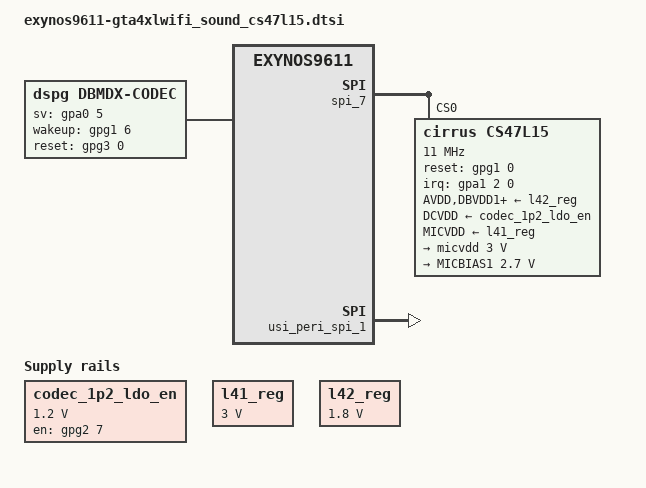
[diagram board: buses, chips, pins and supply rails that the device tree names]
/*
 * SAMSUNG EXYNOS9611 GTA4XL soundcard device tree source
 *
 * Copyright (c) 2018 Samsung Electronics Co., Ltd.
 *		http://www.samsung.com
 *
 * This program is free software; you can redistribute it and/or modify
 * it under the terms of the GNU General Public License version 2 as
 * published by the Free Software Foundation.
 */

/ {
	fragment@sound {
		target-path = "/";
		__overlay__ {
			codec_1p2_ldo_en: codec_1p2_ldo_en {
				compatible = "regulator-fixed";
				regulator-name = "codec_1p2_ldo_en";
				regulator-min-microvolt = <1200000>;
				regulator-max-microvolt = <1200000>;
				gpio = <&gpg2 7 0>;
				enable-active-high;
				startup-delay-us = <1000>;
			};

			/delete-node/ sound;
			sound {
				status = "okay";
				compatible = "samsung,exynos9610-audio-cs47l15";
				#address-cells = <1>;
				#size-cells = <0>;
				mic-always-on;
				clock-names = "xclkout";
				clocks = <&clock OSC_AUD>;
				pinctrl-names = "default";
				pinctrl-0 = <&xclkout0>;
				cirrus,sysclk = <1 4 98304000>;
				cirrus,asyncclk = <2 5 98304000>;
				cirrus,dspclk = <8 4 147456000>;
				cirrus,outclk = <9 1 0>;
				cirrus,fll1-refclk = <1 0 26000000>;
				cirrus,fll2-refclk = <2 8 26000000>;
				samsung,routing = "HEADSETMIC", "MICBIAS1A",
						"MAINMIC", "MICBIAS1B",
						"SUBMIC", "MICBIAS1C",
						"IN1BL", "HEADSETMIC",
						"IN1AL", "MAINMIC",
						"IN1AR", "SUBMIC",
						"RECEIVER", "EPOUTP",
						"RECEIVER", "EPOUTN",
						"HEADPHONE", "HPOUTL",
						"HEADPHONE", "HPOUTR",
						"VOUTPUT", "ABOX UAIF0 Playback",
						"SPEAKER", "ABOX UAIF2 Playback",
						"VOUTPUTCALL", "ABOX SIFS0 Playback",
						"BLUETOOTH SPK", "ABOX SIFS2 Playback",
						"ABOX SPDY Capture", "FM IN",
						"ABOX SIFS2 Capture", "BLUETOOTH MIC",
						"ABOX SIFS0 Capture", "VINPUTCALL";

				samsung,codec = <&abox &abox_uaif_0 &abox_uaif_1 &abox_uaif_2
					&abox_uaif_4 &abox_dsif &abox_spdy>;
				samsung,prefix = "ABOX", "ABOX", "ABOX", "ABOX",
					"ABOX", "ABOX", "ABOX";
				samsung,aux = <&abox_effect &abox_bt>;

				mixer-paths = "mixer_paths_cs47l15.xml";
				rdma@0 {
					cpu {
						sound-dai = <&abox 0>;
					};
					platform {
						sound-dai = <&abox_rdma_0>;
					};
					codec {
						sound-dai = <&dummy_audio_codec>;
					};
				};
				rdma@1 {
					cpu {
						sound-dai = <&abox 1>;
					};
					platform {
						sound-dai = <&abox_rdma_1>;
					};
					codec {
						sound-dai = <&dummy_audio_codec>;
					};
				};
				rdma@2 {
					cpu {
						sound-dai = <&abox 2>;
					};
					platform {
						sound-dai = <&abox_rdma_2>;
					};
					codec {
						sound-dai = <&dummy_audio_codec>;
					};
				};
				rdma@3 {
					cpu {
						sound-dai = <&abox 3>;
					};
					platform {
						sound-dai = <&abox_rdma_3>;
					};
					codec {
						sound-dai = <&dummy_audio_codec>;
					};
				};
				rdma@4 {
					cpu {
						sound-dai = <&abox 4>;
					};
					platform {
						sound-dai = <&abox_rdma_4>;
					};
					codec {
						sound-dai = <&dummy_audio_codec>;
					};
				};
				rdma@5 {
					cpu {
						sound-dai = <&abox 5>;
					};
					platform {
						sound-dai = <&abox_rdma_5>;
					};
					codec {
						sound-dai = <&dummy_audio_codec>;
					};
				};
				rdma@6 {
					cpu {
						sound-dai = <&abox 6>;
					};
					platform {
						sound-dai = <&abox_rdma_6>;
					};
					codec {
						sound-dai = <&dummy_audio_codec>;
					};
				};
				rdma@7 {
					cpu {
						sound-dai = <&abox 7>;
					};
					platform {
						sound-dai = <&abox_rdma_7>;
					};
					codec {
						sound-dai = <&dummy_audio_codec>;
					};
				};
				wdma@0 {
					cpu {
						sound-dai = <&abox 8>;
					};
					platform {
						sound-dai = <&abox_wdma_0>;
					};
					codec {
						sound-dai = <&dummy_audio_codec>;
					};
				};
				wdma@1 {
					cpu {
						sound-dai = <&abox 9>;
					};
					platform {
						sound-dai = <&abox_wdma_1>;
					};
					codec {
						sound-dai = <&dummy_audio_codec>;
					};
				};
				wdma@2 {
					cpu {
						sound-dai = <&abox 10>;
					};
					platform {
						sound-dai = <&abox_wdma_2>;
					};
					codec {
						sound-dai = <&dummy_audio_codec>;
					};
				};
				wdma@3 {
					cpu {
						sound-dai = <&abox 11>;
					};
					platform {
						sound-dai = <&abox_wdma_3>;
					};
					codec {
						sound-dai = <&dummy_audio_codec>;
					};
				};
				wdma@4 {
					cpu {
						sound-dai = <&abox 12>;
					};
					platform {
						sound-dai = <&abox_wdma_4>;
					};
					codec {
						sound-dai = <&dummy_audio_codec>;
					};
				};
				uaif@0 {
					format = "i2s";
					cpu {
						sound-dai = <&abox_uaif_0>;
					};
					codec {
						sound-dai = <&cs47l15 0>;
					};
				};
				uaif@1 {
					format = "i2s";
					cpu {
						sound-dai = <&abox_uaif_1>;
					};
					codec {
						sound-dai = <&dummy_audio_codec>;
					};
				};
				uaif@2 {
					format = "i2s";
					cpu {
						sound-dai = <&abox_uaif_2>;
					};
					platform {
						sound-dai = <&abox_adaptation 0>;
					};
					codec {
						sound-dai = <&tas2562 0>;
					};
				};
				uaif@4 {
					format = "i2s";
					bitclock-master;
					frame-master;
					cpu {
						sound-dai = <&abox_uaif_4>;
					};
					codec {
						sound-dai = <&dummy_audio_codec>;
					};
				};
				dsif@0 {
					format = "pdm";
					cpu {
						sound-dai = <&abox_dsif>;
					};
					codec {
						sound-dai = <&dummy_audio_codec>;
					};
				};
				spdy@0 {
					cpu {
						sound-dai = <&abox_spdy>;
					};
					codec {
						sound-dai = <&dummy_audio_codec>;
					};
				};
				sifs0@0 {
					cpu {
						sound-dai = <&abox 13>;
					};
					codec {
						sound-dai = <&dummy_audio_codec>;
					};
				};
				sifs1@0 {
					cpu {
						sound-dai = <&abox 14>;
					};
					codec {
						sound-dai = <&dummy_audio_codec>;
					};
				};
				sifs2@0 {
					cpu {
						sound-dai = <&abox 15>;
					};
					codec {
						sound-dai = <&dummy_audio_codec>;
					};
				};
			};
			dbmdx_event {
				status = "okay";
				compatible = "samsung,dbmdx-event";
			};

			dbmdx-snd-soc-platform {
				compatible = "dspg,dbmdx-snd-soc-platform";
			};

			snd-dbmdx-mach-drv {
				compatible = "dspg,snd-dbmdx-mach-drv";
			};

			dbmdx {
				status = "okay";
				compatible = "dspg,dbmdx-codec";

				pinctrl-names = "default";
				pinctrl-0 = <&dbmdx_wakeup &dbmdx_reset>;

				sv-gpio = <&gpa0 5 0>; /* VOICE_INT */
				wakeup-gpio = <&gpg1 6 0>; /* VOICE_WAKE */
				reset-gpio = <&gpg3 0 0>; /* VOICE_RST */
				auto_buffering = <1>;
				multi-interface-support = <1>;
				cd-interfaces = <&dbmd8_spi>;
				va-interfaces = <0 0 0 0>;
				feature-va; /* enable VA */
				va-firmware-name = "dbmd8_va_fw.bin";
				va-asrp-params-firmware-name = "dbmd8_va_asrp_fw.bin";
				va-config =	<0x80000000
						0x80000000
						0x80000000
						0x80290020
						0x801b0020
						0x80093004
						0x802210E1
						0x8033006E
						0x80159090
						0x80230000
						0x801A0001
						0x80107009
						0x8aab0040
						0x800C7530
						0x80050064
						0x80060300
						0x80070010
						0x80080000>;
						/* 2MIC_NR_DET 1MIC_DET 2MIC_NR_STREAM 2MIC_NONR_STREAM IDLE */
				va-ns-config = <0x80000000 0x80000000 0x80000000 0x80000000 0x80000000
						0x80000000 0x80000000 0x80000000 0x80000000 0x80000000
						0x80000000 0x80000000 0x80000000 0x80000000 0x80000000
						0x803D0109 0x80000000 0x803D0109 0x80000000 0x80000000
						0x803E0000 0x80000000 0x803E0000 0x80000000 0x80000000
						0x80340243 0x80340040 0x80340243 0x80340040 0x8013FFFF
						0x80110E10 0x8013FFF0 0x80110E10 0x8013FFF0 0x80340000
						0x80111EEE 0x80040000 0x80111EEE 0x80040000 0x8aab0014
						0x80112EEE 0x8016FF1C 0x80112EE2 0x8016FF18 0x80000000
						0x80113EEE 0x80000000 0x80113EEE 0x80000000 0x80000000
						0x80114EEE 0x80000000 0x80114EEE 0x80000000 0x80000000
						0x80115EE2 0x80000000 0x80115EE2 0x80000000 0x80000000
						0x80116EEE 0x80000000 0x80116EEE 0x80000000 0x80000000
						0x80117EEE 0x80000000 0x80117EEE 0x80000000 0x80000000
						0x8013FF20 0x80000000 0x8013FFF2 0x80000000 0x80000000
						0x80040000 0x80000000 0x80040000 0x80000000 0x80000000
						0x8016FF18 0x80000000 0x8016FF18 0x80000000 0x80000000
						0x80000000 0x80000000 0x80000000 0x80000000 0x80000000
						0x80000000 0x80000000 0x80000000 0x80000000 0x80000000
						0x80000000 0x80000000 0x80000000 0x80000000 0x80000000
						0x80000000 0x80000000 0x80000000 0x80000000 0x80000000
						0x80000000 0x80000000 0x80000000 0x80000000 0x80000000>;
				va-speeds = <0x0000 0 0 960000
					     0x0000 0 0 4800000
					     0x0000 0 0 4800000 >;
				va-mic-config = <0xb68 0x267 0x0268>;
				va-mic-mode = <2>;
				master-clk-rate = <32768>;
				/* constant-clk-rate = <32768>; */
				firmware_id = <0xdbd8>;
				use_gpio_for_wakeup = <1>; /* Use wakeup gpio */
				wakeup_set_value = <0>;  /* Value to write to wakeup gpio */
				auto_detection = <1>;
				detection_buffer_channels = <1>;
				min_samples_chunk_size = <128>;
				pcm_streaming_mode = <1>;
				boot_options = <0x220>; /* Verify chip id */
				send_uevent_on_detection = <1>;
				send_uevent_after_buffering = <0>;
				detection_after_buffering = <0>;
				va_backlog_length = <1802>;
				va_backlog_length_okg = <1000>;
				amodel_options = <0x1B>;
				va_ns_supported = <1>;
				va_ns-num_of_configs = <5>;
				mic_config_source = <0>;
				retrigger_interval_sec = <600>;
			};
		};
	};
};



&pinctrl_4 {
	/delete-node/ codec_reset;
	codec_reset: codec-reset {
		samsung,pins ="gpg1-0";
		samsung,pin-function = <1>;
		samsung,pin-pud = <3>;
		samsung,pin-con-pdn =<1>;
		samsung,pin-pud-pdn = <3>;
		samsung,pin-val = <1>;
	};
};

&i2c_6 {
	rt5665@1b {
		status = "disabled";
	};
};

/* USI_PERI_SPI_1 */
&spi_7 {
	#address-cells = <1>;
	#size-cells = <0>;
	status = "okay";
	pinctrl-names = "default";
	pinctrl-0 = <&spi7_bus &spi7_cs_func>;

	dma-mode;
	dmas = <&pdma0 21 &pdma0 20>;

	cs47l15: cs47l15@0 {
		compatible = "cirrus,cs47l15";
		reg = <0x00>;
		spi-max-frequency = <11000000>; /* Cirrus guide */

		interrupts = <2 0 0>;
		interrupt-controller;
		#interrupt-cells = <2>;
		interrupt-parent = <&gpa1>;
		gpio-controller;
		#gpio-cells = <2>;
		#sound-dai-cells = <1>;

		AVDD-supply = <&l42_reg>; /* vdd_ldo42 regulator_1v8 */
		DCVDD-supply = <&codec_1p2_ldo_en>; /* BUCK9 b9_reg vdd_mldo */
		DBVDD1-supply = <&l42_reg>; /* vdd_ldo42 regulator_1v8 */
		CPVDD1-supply = <&l42_reg>; /* vdd_ldo42 regulator_1v8 */
		MICVDD-supply = <&l41_reg>; /* vdd_ldo41 regulator_3v0 */

		reset-gpios = <&gpg1 0 0>;

		cirrus,dmic-ref = <1 2>;
		cirrus,inmode = < /* 0: diff 1: single 2: dmic */
			0 0 0 0	/* IN1 */
			0 0 0 0	/* IN2 */
		>;

		cirrus,gpsw = <1 0>;

		pinctrl-names = "default", "active";
		pinctrl-0 = <&codec_reset &codec_irq>;
		pinctrl-1 = <&cs47l15_defaults &codec_reset>;

		madera_pinctrl: madera-pinctrl {
			compatible = "cirrus,madera-pinctrl";

			cs47l15_defaults: cs47l15-gpio-defaults {
				aif1 {
					groups = "aif1";
					function = "aif1";
					bias-bus-hold;
				};
			};
		};

		micvdd {
			regulator-min-microvolt = <3000000>;
			regulator-max-microvolt = <3000000>;
		};

		MICBIAS1 {
			regulator-min-microvolt = <2700000>;
			regulator-max-microvolt = <2700000>;
			cirrus,ext-cap = <1>;
		};
		MICBIAS1A {
			regulator-active-discharge = <1>;
		};
		MICBIAS1B {
			regulator-active-discharge = <1>;
		};
		MICBIAS1C {
			regulator-active-discharge = <1>;
		};

		cirrus,accdet {
			#address-cells = <1>;
			#size-cells = <0>;

			acc@1 {
				reg = <1>;

				cirrus,jd-wake-time = <5000>;

				cirrus,micd-force-micbias;
				cirrus,micd-software-compare;
				cirrus,micd-bias-start-time = <1>;
				cirrus,micd-rate = <7>;
				cirrus,micd-detect-debounce-ms = <1000>;
				cirrus,micd-timeout-ms = <3000>;
				cirrus,micd-configs = <1 0 0 0 0>;
				cirrus,micd-ranges = <
					681 226
					752 582
					903 115
					1257 114
				>;

				cirrus,moisture-pin = <6>;
				cirrus,moisture-imp = <2000>;
				cirrus,moisture-debounce = <100>;

				cirrus,hpdet-short-circuit-imp = <2>;
				cirrus,hpdet-ext-res = <820>;

				cirrus,hs-mic = <1>;
				cirrus,init-delay-ms = <30>;

				cirrus,micd-open-circuit-declare = <1>;
			};
		};

		controller-data {
			samsung,spi-feedback-delay = <1>;
			samsung,spi-chip-select-mode = <0>;
		};
	};
};

/* USI_PERI_SPI_1 */
&usi_peri_spi_1 {
	usi_v2_mode = "spi";
	status = "okay";
};

&l41_reg {
	regulator-name = "vdd_ldo41";
	regulator-min-microvolt = <3000000>;
	regulator-max-microvolt = <3000000>;
	regulator-ramp-delay = <12000>;
	regulator-initial-mode = <3>;
	regulator-boot-on;
	regulator-always-on;
};

&l42_reg {
	regulator-name = "regulator_1v8";
	regulator-min-microvolt = <1800000>;
	regulator-max-microvolt = <1800000>;
	regulator-ramp-delay = <12000>;
	regulator-initial-mode = <3>;
	regulator-boot-on;
	regulator-always-on;
};
